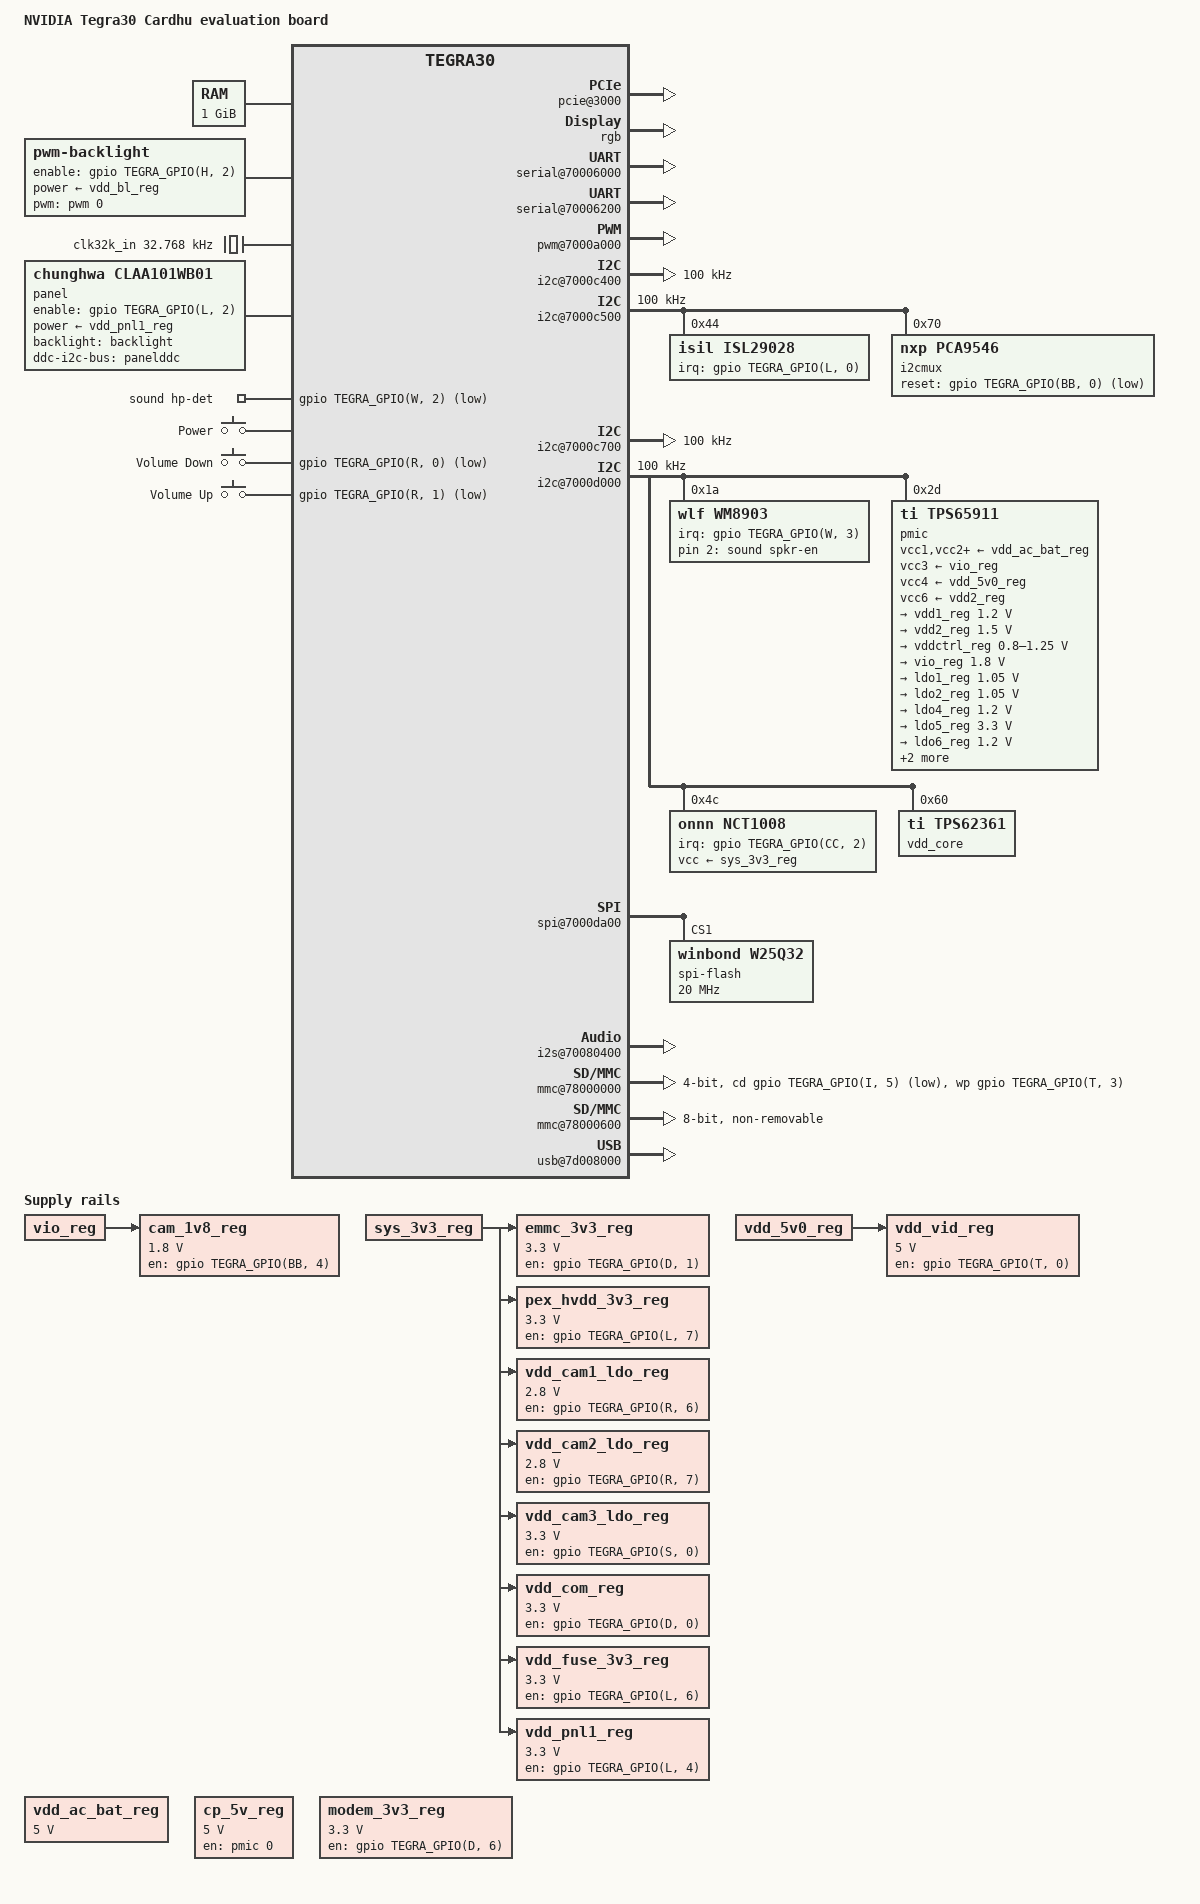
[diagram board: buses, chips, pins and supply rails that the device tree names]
// SPDX-License-Identifier: GPL-2.0
#include <dt-bindings/input/input.h>
#include <dt-bindings/thermal/thermal.h>
#include "tegra30.dtsi"
#include "tegra30-cpu-opp.dtsi"
#include "tegra30-cpu-opp-microvolt.dtsi"

/**
 * This file contains common DT entry for all fab version of Cardhu.
 * There is multiple fab version of Cardhu starting from A01 to A07.
 * Cardhu fab version A01 and A03 are not supported. Cardhu fab version
 * A02 will have different sets of GPIOs for fixed regulator compare to
 * Cardhu fab version A04. The Cardhu fab version A05, A06, A07 are
 * compatible with fab version A04. Based on Cardhu fab version, the
 * related dts file need to be chosen like for Cardhu fab version A02,
 * use tegra30-cardhu-a02.dts, Cardhu fab version A04 and later, use
 * tegra30-cardhu-a04.dts.
 * The identification of board is done in two ways, by looking the sticker
 * on PCB and by reading board id eeprom.
 * The sticker will have number like 600-81291-1000-002 C.3. In this 4th
 * number is the fab version like here it is 002 and hence fab version A02.
 * The (downstream internal) U-Boot of Cardhu display the board-id as
 * follows:
 * BoardID: 0C5B, SKU: 0A01, Fab: 02, Rev: 45.00
 * In this Fab version is 02 i.e. A02.
 * The BoardID I2C eeprom is interfaced through i2c5 (pwr_i2c address 0x56).
 * The location 0x8 of this eeprom contains the Fab version. It is 1 byte
 * wide.
 */

/ {
	model = "NVIDIA Tegra30 Cardhu evaluation board";
	compatible = "nvidia,cardhu", "nvidia,tegra30";

	aliases {
		rtc0 = "/i2c@7000d000/tps65911@2d";
		rtc1 = "/rtc@7000e000";
		serial0 = &uarta;
		serial1 = &uartc;
	};

	chosen {
		stdout-path = "serial0:115200n8";
	};

	memory@80000000 {
		reg = <0x80000000 0x40000000>;
	};

	pcie@3000 {
		status = "okay";

		/* AVDD_PEXA and VDD_PEXA inputs are grounded on Cardhu. */
		avdd-pexb-supply = <&ldo1_reg>;
		vdd-pexb-supply = <&ldo1_reg>;
		avdd-pex-pll-supply = <&ldo1_reg>;
		hvdd-pex-supply = <&pex_hvdd_3v3_reg>;
		vddio-pex-ctl-supply = <&sys_3v3_reg>;
		avdd-plle-supply = <&ldo2_reg>;

		pci@1,0 {
			nvidia,num-lanes = <4>;
		};

		pci@2,0 {
			nvidia,num-lanes = <1>;
		};

		pci@3,0 {
			status = "okay";
			nvidia,num-lanes = <1>;
		};
	};

	host1x@50000000 {
		dc@54200000 {
			rgb {
				status = "okay";

				nvidia,panel = <&panel>;
			};
		};
	};

	pinmux@70000868 {
		pinctrl-names = "default";
		pinctrl-0 = <&state_default>;

		state_default: pinmux {
			sdmmc1_clk_pz0 {
				nvidia,pins = "sdmmc1_clk_pz0";
				nvidia,function = "sdmmc1";
				nvidia,pull = <TEGRA_PIN_PULL_NONE>;
				nvidia,tristate = <TEGRA_PIN_DISABLE>;
			};
			sdmmc1_cmd_pz1 {
				nvidia,pins =	"sdmmc1_cmd_pz1",
						"sdmmc1_dat0_py7",
						"sdmmc1_dat1_py6",
						"sdmmc1_dat2_py5",
						"sdmmc1_dat3_py4";
				nvidia,function = "sdmmc1";
				nvidia,pull = <TEGRA_PIN_PULL_UP>;
				nvidia,tristate = <TEGRA_PIN_DISABLE>;
			};
			sdmmc3_clk_pa6 {
				nvidia,pins = "sdmmc3_clk_pa6";
				nvidia,function = "sdmmc3";
				nvidia,pull = <TEGRA_PIN_PULL_NONE>;
				nvidia,tristate = <TEGRA_PIN_DISABLE>;
			};
			sdmmc3_cmd_pa7 {
				nvidia,pins =	"sdmmc3_cmd_pa7",
						"sdmmc3_dat0_pb7",
						"sdmmc3_dat1_pb6",
						"sdmmc3_dat2_pb5",
						"sdmmc3_dat3_pb4";
				nvidia,function = "sdmmc3";
				nvidia,pull = <TEGRA_PIN_PULL_UP>;
				nvidia,tristate = <TEGRA_PIN_DISABLE>;
			};
			sdmmc4_clk_pcc4 {
				nvidia,pins =	"sdmmc4_clk_pcc4",
						"sdmmc4_rst_n_pcc3";
				nvidia,function = "sdmmc4";
				nvidia,pull = <TEGRA_PIN_PULL_NONE>;
				nvidia,tristate = <TEGRA_PIN_DISABLE>;
			};
			sdmmc4_dat0_paa0 {
				nvidia,pins =	"sdmmc4_dat0_paa0",
						"sdmmc4_dat1_paa1",
						"sdmmc4_dat2_paa2",
						"sdmmc4_dat3_paa3",
						"sdmmc4_dat4_paa4",
						"sdmmc4_dat5_paa5",
						"sdmmc4_dat6_paa6",
						"sdmmc4_dat7_paa7";
				nvidia,function = "sdmmc4";
				nvidia,pull = <TEGRA_PIN_PULL_UP>;
				nvidia,tristate = <TEGRA_PIN_DISABLE>;
			};
			dap2_fs_pa2 {
				nvidia,pins =	"dap2_fs_pa2",
						"dap2_sclk_pa3",
						"dap2_din_pa4",
						"dap2_dout_pa5";
				nvidia,function = "i2s1";
				nvidia,pull = <TEGRA_PIN_PULL_NONE>;
				nvidia,tristate = <TEGRA_PIN_DISABLE>;
			};
			sdio3 {
				nvidia,pins = "drive_sdio3";
				nvidia,high-speed-mode = <TEGRA_PIN_DISABLE>;
				nvidia,schmitt = <TEGRA_PIN_DISABLE>;
				nvidia,pull-down-strength = <46>;
				nvidia,pull-up-strength = <42>;
				nvidia,slew-rate-rising = <TEGRA_PIN_SLEW_RATE_FAST>;
				nvidia,slew-rate-falling = <TEGRA_PIN_SLEW_RATE_FAST>;
			};
			uart3_txd_pw6 {
				nvidia,pins =	"uart3_txd_pw6",
						"uart3_cts_n_pa1",
						"uart3_rts_n_pc0",
						"uart3_rxd_pw7";
				nvidia,function = "uartc";
				nvidia,pull = <TEGRA_PIN_PULL_NONE>;
				nvidia,tristate = <TEGRA_PIN_DISABLE>;
			};
		};
	};

	serial@70006000 {
		status = "okay";
	};

	serial@70006200 {
		compatible = "nvidia,tegra30-hsuart";
		status = "okay";
	};

	pwm@7000a000 {
		status = "okay";
	};

	panelddc: i2c@7000c000 {
		status = "okay";
		clock-frequency = <100000>;
	};

	i2c@7000c400 {
		status = "okay";
		clock-frequency = <100000>;
	};

	i2c@7000c500 {
		status = "okay";
		clock-frequency = <100000>;

		/* ALS and Proximity sensor */
		isl29028@44 {
			compatible = "isil,isl29028";
			reg = <0x44>;
			interrupt-parent = <&gpio>;
			interrupts = <TEGRA_GPIO(L, 0) IRQ_TYPE_LEVEL_HIGH>;
		};

		i2cmux@70 {
			compatible = "nxp,pca9546";
			#address-cells = <1>;
			#size-cells = <0>;
			reg = <0x70>;
			reset-gpio = <&gpio TEGRA_GPIO(BB, 0) GPIO_ACTIVE_LOW>;
		};
	};

	i2c@7000c700 {
		status = "okay";
		clock-frequency = <100000>;
	};

	i2c@7000d000 {
		status = "okay";
		clock-frequency = <100000>;

		wm8903: wm8903@1a {
			compatible = "wlf,wm8903";
			reg = <0x1a>;
			interrupt-parent = <&gpio>;
			interrupts = <TEGRA_GPIO(W, 3) IRQ_TYPE_LEVEL_HIGH>;

			gpio-controller;
			#gpio-cells = <2>;

			micdet-cfg = <0>;
			micdet-delay = <100>;
			gpio-cfg = <0xffffffff 0xffffffff 0 0xffffffff 0xffffffff>;
		};

		pmic: tps65911@2d {
			compatible = "ti,tps65911";
			reg = <0x2d>;

			interrupts = <GIC_SPI 86 IRQ_TYPE_LEVEL_HIGH>;
			#interrupt-cells = <2>;
			interrupt-controller;
			wakeup-source;

			ti,system-power-controller;

			#gpio-cells = <2>;
			gpio-controller;

			vcc1-supply = <&vdd_ac_bat_reg>;
			vcc2-supply = <&vdd_ac_bat_reg>;
			vcc3-supply = <&vio_reg>;
			vcc4-supply = <&vdd_5v0_reg>;
			vcc5-supply = <&vdd_ac_bat_reg>;
			vcc6-supply = <&vdd2_reg>;
			vcc7-supply = <&vdd_ac_bat_reg>;
			vccio-supply = <&vdd_ac_bat_reg>;

			regulators {
				vdd1_reg: vdd1 {
					regulator-name = "vddio_ddr_1v2";
					regulator-min-microvolt = <1200000>;
					regulator-max-microvolt = <1200000>;
					regulator-always-on;
				};

				vdd2_reg: vdd2 {
					regulator-name = "vdd_1v5_gen";
					regulator-min-microvolt = <1500000>;
					regulator-max-microvolt = <1500000>;
					regulator-always-on;
				};

				vddctrl_reg: vddctrl {
					regulator-name = "vdd_cpu,vdd_sys";
					regulator-min-microvolt = <800000>;
					regulator-max-microvolt = <1250000>;
					regulator-coupled-with = <&vdd_core>;
					regulator-coupled-max-spread = <300000>;
					regulator-max-step-microvolt = <100000>;
					regulator-always-on;

					nvidia,tegra-cpu-regulator;
				};

				vio_reg: vio {
					regulator-name = "vdd_1v8_gen";
					regulator-min-microvolt = <1800000>;
					regulator-max-microvolt = <1800000>;
					regulator-always-on;
				};

				ldo1_reg: ldo1 {
					regulator-name = "vdd_pexa,vdd_pexb";
					regulator-min-microvolt = <1050000>;
					regulator-max-microvolt = <1050000>;
				};

				ldo2_reg: ldo2 {
					regulator-name = "vdd_sata,avdd_plle";
					regulator-min-microvolt = <1050000>;
					regulator-max-microvolt = <1050000>;
				};

				/* LDO3 is not connected to anything */

				ldo4_reg: ldo4 {
					regulator-name = "vdd_rtc";
					regulator-min-microvolt = <1200000>;
					regulator-max-microvolt = <1200000>;
					regulator-always-on;
				};

				ldo5_reg: ldo5 {
					regulator-name = "vddio_sdmmc,avdd_vdac";
					regulator-min-microvolt = <3300000>;
					regulator-max-microvolt = <3300000>;
					regulator-always-on;
				};

				ldo6_reg: ldo6 {
					regulator-name = "avdd_dsi_csi,pwrdet_mipi";
					regulator-min-microvolt = <1200000>;
					regulator-max-microvolt = <1200000>;
				};

				ldo7_reg: ldo7 {
					regulator-name = "vdd_pllm,x,u,a_p_c_s";
					regulator-min-microvolt = <1200000>;
					regulator-max-microvolt = <1200000>;
					regulator-always-on;
				};

				ldo8_reg: ldo8 {
					regulator-name = "vdd_ddr_hs";
					regulator-min-microvolt = <1000000>;
					regulator-max-microvolt = <1000000>;
					regulator-always-on;
				};
			};
		};

		nct1008: temperature-sensor@4c {
			compatible = "onnn,nct1008";
			reg = <0x4c>;
			vcc-supply = <&sys_3v3_reg>;
			interrupt-parent = <&gpio>;
			interrupts = <TEGRA_GPIO(CC, 2) IRQ_TYPE_LEVEL_LOW>;
			#thermal-sensor-cells = <1>;
		};

		vdd_core: tps62361@60 {
			compatible = "ti,tps62361";
			reg = <0x60>;

			regulator-name = "tps62361-vout";
			regulator-min-microvolt = <500000>;
			regulator-max-microvolt = <1500000>;
			regulator-coupled-with = <&vddctrl_reg>;
			regulator-coupled-max-spread = <300000>;
			regulator-max-step-microvolt = <100000>;
			regulator-boot-on;
			regulator-always-on;
			ti,vsel0-state-high;
			ti,vsel1-state-high;

			nvidia,tegra-core-regulator;
		};
	};

	spi@7000da00 {
		status = "okay";
		spi-max-frequency = <25000000>;
		spi-flash@1 {
			compatible = "winbond,w25q32", "jedec,spi-nor";
			reg = <1>;
			spi-max-frequency = <20000000>;
		};
	};

	pmc@7000e400 {
		status = "okay";
		nvidia,invert-interrupt;
		nvidia,suspend-mode = <1>;
		nvidia,cpu-pwr-good-time = <2000>;
		nvidia,cpu-pwr-off-time = <200>;
		nvidia,core-pwr-good-time = <3845 3845>;
		nvidia,core-pwr-off-time = <0>;
		nvidia,core-power-req-active-high;
		nvidia,sys-clock-req-active-high;
	};

	ahub@70080000 {
		i2s@70080400 {
			status = "okay";
		};
	};

	mmc@78000000 {
		status = "okay";
		cd-gpios = <&gpio TEGRA_GPIO(I, 5) GPIO_ACTIVE_LOW>;
		wp-gpios = <&gpio TEGRA_GPIO(T, 3) GPIO_ACTIVE_HIGH>;
		power-gpios = <&gpio TEGRA_GPIO(D, 7) GPIO_ACTIVE_HIGH>;
		bus-width = <4>;
	};

	mmc@78000600 {
		status = "okay";
		bus-width = <8>;
		non-removable;
	};

	usb@7d008000 {
		status = "okay";
	};

	usb-phy@7d008000 {
		vbus-supply = <&usb3_vbus_reg>;
		status = "okay";
	};

	backlight: backlight {
		compatible = "pwm-backlight";

		enable-gpios = <&gpio TEGRA_GPIO(H, 2) GPIO_ACTIVE_HIGH>;
		power-supply = <&vdd_bl_reg>;
		pwms = <&pwm 0 5000000>;

		brightness-levels = <0 4 8 16 32 64 128 255>;
		default-brightness-level = <6>;
	};

	clk32k_in: clock@0 {
		compatible = "fixed-clock";
		clock-frequency = <32768>;
		#clock-cells = <0>;
	};

	cpus {
		cpu0: cpu@0 {
			cpu-supply = <&vddctrl_reg>;
			operating-points-v2 = <&cpu0_opp_table>;
			#cooling-cells = <2>;
		};

		cpu1: cpu@1 {
			cpu-supply = <&vddctrl_reg>;
			operating-points-v2 = <&cpu0_opp_table>;
			#cooling-cells = <2>;
		};

		cpu2: cpu@2 {
			cpu-supply = <&vddctrl_reg>;
			operating-points-v2 = <&cpu0_opp_table>;
			#cooling-cells = <2>;
		};

		cpu3: cpu@3 {
			cpu-supply = <&vddctrl_reg>;
			operating-points-v2 = <&cpu0_opp_table>;
			#cooling-cells = <2>;
		};
	};

	panel: panel {
		compatible = "chunghwa,claa101wb01";
		ddc-i2c-bus = <&panelddc>;

		power-supply = <&vdd_pnl1_reg>;
		enable-gpios = <&gpio TEGRA_GPIO(L, 2) GPIO_ACTIVE_HIGH>;

		backlight = <&backlight>;
	};

	vdd_ac_bat_reg: regulator@0 {
		compatible = "regulator-fixed";
		regulator-name = "vdd_ac_bat";
		regulator-min-microvolt = <5000000>;
		regulator-max-microvolt = <5000000>;
		regulator-always-on;
	};

	cam_1v8_reg: regulator@1 {
		compatible = "regulator-fixed";
		regulator-name = "cam_1v8";
		regulator-min-microvolt = <1800000>;
		regulator-max-microvolt = <1800000>;
		enable-active-high;
		gpio = <&gpio TEGRA_GPIO(BB, 4) GPIO_ACTIVE_HIGH>;
		vin-supply = <&vio_reg>;
	};

	cp_5v_reg: regulator@2 {
		compatible = "regulator-fixed";
		regulator-name = "cp_5v";
		regulator-min-microvolt = <5000000>;
		regulator-max-microvolt = <5000000>;
		regulator-boot-on;
		regulator-always-on;
		enable-active-high;
		gpio = <&pmic 0 GPIO_ACTIVE_HIGH>;
	};

	emmc_3v3_reg: regulator@3 {
		compatible = "regulator-fixed";
		regulator-name = "emmc_3v3";
		regulator-min-microvolt = <3300000>;
		regulator-max-microvolt = <3300000>;
		regulator-always-on;
		regulator-boot-on;
		enable-active-high;
		gpio = <&gpio TEGRA_GPIO(D, 1) GPIO_ACTIVE_HIGH>;
		vin-supply = <&sys_3v3_reg>;
	};

	modem_3v3_reg: regulator@4 {
		compatible = "regulator-fixed";
		regulator-name = "modem_3v3";
		regulator-min-microvolt = <3300000>;
		regulator-max-microvolt = <3300000>;
		enable-active-high;
		gpio = <&gpio TEGRA_GPIO(D, 6) GPIO_ACTIVE_HIGH>;
	};

	pex_hvdd_3v3_reg: regulator@5 {
		compatible = "regulator-fixed";
		regulator-name = "pex_hvdd_3v3";
		regulator-min-microvolt = <3300000>;
		regulator-max-microvolt = <3300000>;
		enable-active-high;
		gpio = <&gpio TEGRA_GPIO(L, 7) GPIO_ACTIVE_HIGH>;
		vin-supply = <&sys_3v3_reg>;
	};

	vdd_cam1_ldo_reg: regulator@6 {
		compatible = "regulator-fixed";
		regulator-name = "vdd_cam1_ldo";
		regulator-min-microvolt = <2800000>;
		regulator-max-microvolt = <2800000>;
		enable-active-high;
		gpio = <&gpio TEGRA_GPIO(R, 6) GPIO_ACTIVE_HIGH>;
		vin-supply = <&sys_3v3_reg>;
	};

	vdd_cam2_ldo_reg: regulator@7 {
		compatible = "regulator-fixed";
		regulator-name = "vdd_cam2_ldo";
		regulator-min-microvolt = <2800000>;
		regulator-max-microvolt = <2800000>;
		enable-active-high;
		gpio = <&gpio TEGRA_GPIO(R, 7) GPIO_ACTIVE_HIGH>;
		vin-supply = <&sys_3v3_reg>;
	};

	vdd_cam3_ldo_reg: regulator@8 {
		compatible = "regulator-fixed";
		regulator-name = "vdd_cam3_ldo";
		regulator-min-microvolt = <3300000>;
		regulator-max-microvolt = <3300000>;
		enable-active-high;
		gpio = <&gpio TEGRA_GPIO(S, 0) GPIO_ACTIVE_HIGH>;
		vin-supply = <&sys_3v3_reg>;
	};

	vdd_com_reg: regulator@9 {
		compatible = "regulator-fixed";
		regulator-name = "vdd_com";
		regulator-min-microvolt = <3300000>;
		regulator-max-microvolt = <3300000>;
		regulator-always-on;
		regulator-boot-on;
		enable-active-high;
		gpio = <&gpio TEGRA_GPIO(D, 0) GPIO_ACTIVE_HIGH>;
		vin-supply = <&sys_3v3_reg>;
	};

	vdd_fuse_3v3_reg: regulator@10 {
		compatible = "regulator-fixed";
		regulator-name = "vdd_fuse_3v3";
		regulator-min-microvolt = <3300000>;
		regulator-max-microvolt = <3300000>;
		enable-active-high;
		gpio = <&gpio TEGRA_GPIO(L, 6) GPIO_ACTIVE_HIGH>;
		vin-supply = <&sys_3v3_reg>;
	};

	vdd_pnl1_reg: regulator@11 {
		compatible = "regulator-fixed";
		regulator-name = "vdd_pnl1";
		regulator-min-microvolt = <3300000>;
		regulator-max-microvolt = <3300000>;
		regulator-always-on;
		regulator-boot-on;
		enable-active-high;
		gpio = <&gpio TEGRA_GPIO(L, 4) GPIO_ACTIVE_HIGH>;
		vin-supply = <&sys_3v3_reg>;
	};

	vdd_vid_reg: regulator@12 {
		compatible = "regulator-fixed";
		regulator-name = "vddio_vid";
		regulator-min-microvolt = <5000000>;
		regulator-max-microvolt = <5000000>;
		enable-active-high;
		gpio = <&gpio TEGRA_GPIO(T, 0) GPIO_ACTIVE_HIGH>;
		gpio-open-drain;
		vin-supply = <&vdd_5v0_reg>;
	};

	sound {
		compatible = "nvidia,tegra-audio-wm8903-cardhu",
			     "nvidia,tegra-audio-wm8903";
		nvidia,model = "NVIDIA Tegra Cardhu";

		nvidia,audio-routing =
			"Headphone Jack", "HPOUTR",
			"Headphone Jack", "HPOUTL",
			"Int Spk", "ROP",
			"Int Spk", "RON",
			"Int Spk", "LOP",
			"Int Spk", "LON",
			"Mic Jack", "MICBIAS",
			"IN1L", "Mic Jack";

		nvidia,i2s-controller = <&tegra_i2s1>;
		nvidia,audio-codec = <&wm8903>;

		nvidia,spkr-en-gpios = <&wm8903 2 GPIO_ACTIVE_HIGH>;
		nvidia,hp-det-gpios = <&gpio TEGRA_GPIO(W, 2)
			GPIO_ACTIVE_LOW>;

		clocks = <&tegra_car TEGRA30_CLK_PLL_A>,
			 <&tegra_car TEGRA30_CLK_PLL_A_OUT0>,
			 <&tegra_pmc TEGRA_PMC_CLK_OUT_1>;
		clock-names = "pll_a", "pll_a_out0", "mclk";

		assigned-clocks = <&tegra_car TEGRA30_CLK_EXTERN1>,
				  <&tegra_pmc TEGRA_PMC_CLK_OUT_1>;

		assigned-clock-parents = <&tegra_car TEGRA30_CLK_PLL_A_OUT0>,
					 <&tegra_car TEGRA30_CLK_EXTERN1>;
	};

	thermal-zones {
		cpu-thermal {
			polling-delay-passive = <1000>; /* milliseconds */
			polling-delay = <5000>; /* milliseconds */

			thermal-sensors = <&nct1008 1>;

			trips {
				trip0: cpu-alert0 {
					/* throttle at 57C until temperature drops to 56.8C */
					temperature = <57000>;
					hysteresis = <200>;
					type = "passive";
				};

				trip1: cpu-crit {
					/* shut down at 60C */
					temperature = <60000>;
					hysteresis = <2000>;
					type = "critical";
				};
			};

			cooling-maps {
				map0 {
					trip = <&trip0>;
					cooling-device = <&cpu0 THERMAL_NO_LIMIT THERMAL_NO_LIMIT>,
							 <&cpu1 THERMAL_NO_LIMIT THERMAL_NO_LIMIT>,
							 <&cpu2 THERMAL_NO_LIMIT THERMAL_NO_LIMIT>,
							 <&cpu3 THERMAL_NO_LIMIT THERMAL_NO_LIMIT>;
				};
			};
		};
	};

	gpio-keys {
		compatible = "gpio-keys";

		power {
			label = "Power";
			interrupt-parent = <&pmic>;
			interrupts = <2 0>;
			linux,code = <KEY_POWER>;
			debounce-interval = <100>;
			wakeup-source;
		};

		volume-down {
			label = "Volume Down";
			gpios = <&gpio TEGRA_GPIO(R, 0) GPIO_ACTIVE_LOW>;
			linux,code = <KEY_VOLUMEDOWN>;
			debounce-interval = <10>;
		};

		volume-up {
			label = "Volume Up";
			gpios = <&gpio TEGRA_GPIO(R, 1) GPIO_ACTIVE_LOW>;
			linux,code = <KEY_VOLUMEUP>;
			debounce-interval = <10>;
		};
	};
};
